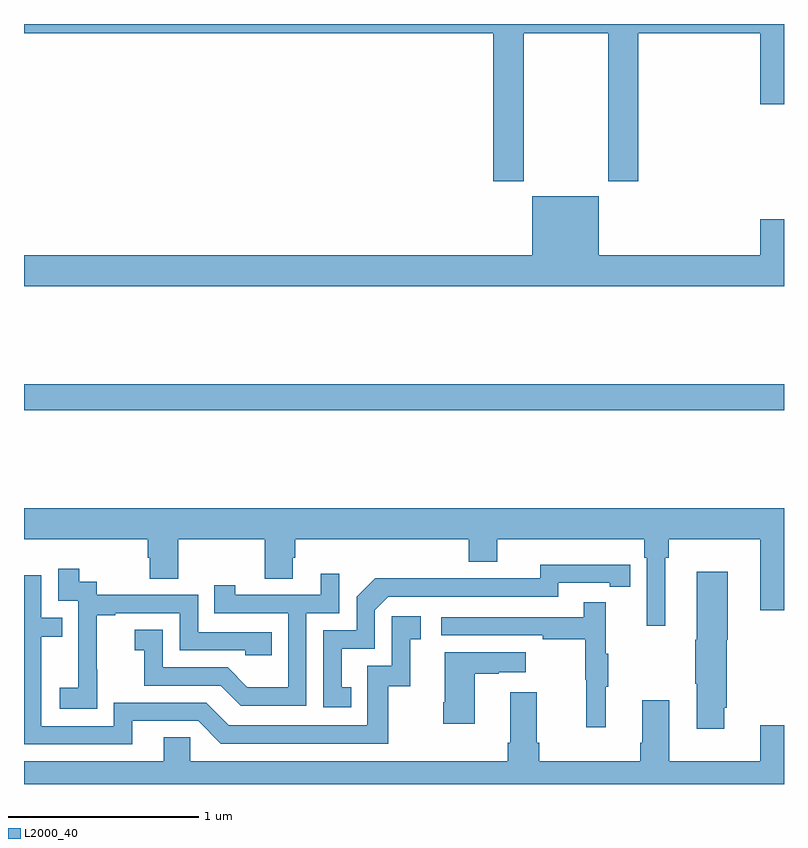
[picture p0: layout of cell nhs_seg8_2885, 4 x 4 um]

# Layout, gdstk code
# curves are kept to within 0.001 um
import gdstk
lib = gdstk.Library(unit=1e-6, precision=1e-09)
def R(c, l, rs):  # rectangles x0, y0, x1, y1
    for r in rs: c.add(gdstk.rectangle(r[:2], r[2:], *l))
def P(c, l, *ps):  # polygons
    for p in ps: c.add(gdstk.Polygon(p, *l))
L2000_40 = (2000, 40)

nhs_seg8_2885 = lib.new_cell('nhs_seg8_2885')
R(nhs_seg8_2885, L2000_40, [(293,1095.868,297,1096.004)])
P(nhs_seg8_2885, L2000_40, [(295.629,1097.852),(296.074,1097.852),(296.074,1097.073),(296.234,1097.073),(296.234,1097.852),(296.876,1097.852),(296.876,1097.478),(297,1097.478),(297,1097.9),(293,1097.9),(293,1097.852),(295.469,1097.852),(295.469,1097.073),(295.629,1097.073)],
  [(297,1096.873),(296.876,1096.873),(296.876,1096.684),(296.026,1096.684),(296.026,1096.993),(295.676,1096.993),(295.676,1096.684),(293,1096.684),(293,1096.52),(297,1096.52)],
  [(296.374,1095.092),(296.393,1095.092),(296.393,1095.188),(296.876,1095.188),(296.876,1094.814),(297,1094.814),(297,1095.352),(293,1095.352),(293,1095.188),(293.651,1095.188),(293.651,1095.09),(293.663,1095.09),(293.663,1094.98),(293.811,1094.98),(293.811,1095.188),(294.268,1095.188),(294.268,1094.98),(294.415,1094.98),(294.415,1095.09),(294.428,1095.09),(294.428,1095.188),(295.34,1095.188),(295.34,1095.071),(295.492,1095.071),(295.492,1095.188),(296.264,1095.188),(296.264,1095.092),(296.277,1095.092),(296.277,1094.733),(296.374,1094.733)],
  [(294.722,1094.409),(294.673,1094.409),(294.673,1094.613),(294.846,1094.613),(294.846,1094.814),(294.918,1094.886),(295.812,1094.886),(295.812,1094.958),(296.084,1094.958),(296.084,1094.938),(296.192,1094.938),(296.192,1095.054),(295.716,1095.055),(295.716,1094.982),(295.256,1094.982),(295.256,1094.984),(294.848,1094.984),(294.75,1094.886),(294.75,1094.709),(294.576,1094.709),(294.576,1094.304),(294.722,1094.304)],
  [(293.385,1094.503),(293.384,1094.503),(293.384,1094.787),(293.479,1094.787),(293.479,1094.799),(293.82,1094.799),(293.82,1094.604),(294.165,1094.604),(294.165,1094.577),(294.305,1094.577),(294.305,1094.7),(293.916,1094.7),(293.916,1094.895),(293.382,1094.895),(293.382,1094.964),(293.29,1094.964),(293.29,1095.034),(293.181,1095.034),(293.181,1094.865),(293.286,1094.865),(293.286,1094.636),(293.285,1094.636),(293.285,1094.407),(293.187,1094.407),(293.187,1094.297),(293.385,1094.297)],
  [(296.686,1094.302),(296.699,1094.302),(296.699,1094.658),(296.704,1094.658),(296.704,1095.016),(296.54,1095.016),(296.54,1094.658),(296.533,1094.658),(296.533,1094.428),(296.54,1094.428),(296.54,1094.19),(296.686,1094.19)],
  [(294.486,1094.799),(294.66,1094.799),(294.66,1095.007),(294.563,1095.007),(294.563,1094.895),(294.112,1094.895),(294.112,1094.947),(294.001,1094.947),(294.001,1094.799),(294.39,1094.799),(294.39,1094.41),(294.176,1094.41),(294.072,1094.514),(293.73,1094.514),(293.73,1094.713),(293.583,1094.713),(293.583,1094.603),(293.632,1094.603),(293.632,1094.418),(294.035,1094.418),(294.14,1094.313),(294.486,1094.313)],
  [(293.569,1094.232),(293.916,1094.232),(294.036,1094.112),(294.916,1094.112),(294.916,1094.415),(295.034,1094.415),(295.034,1094.661),(295.087,1094.661),(295.087,1094.782),(294.936,1094.782),(294.936,1094.523),(294.807,1094.523),(294.807,1094.208),(294.078,1094.208),(293.958,1094.328),(293.472,1094.328),(293.472,1094.205),(293.091,1094.205),(293.091,1094.674),(293.201,1094.674),(293.201,1094.775),(293.091,1094.775),(293.091,1095),(293,1095),(293,1094.109),(293.569,1094.109)],
  [(296.063,1094.411),(296.074,1094.411),(296.074,1094.585),(296.063,1094.585),(296.063,1094.857),(295.945,1094.857),(295.945,1094.778),(295.197,1094.778),(295.197,1094.682),(295.729,1094.682),(295.729,1094.662),(295.953,1094.662),(295.953,1094.448),(295.96,1094.448),(295.96,1094.199),(296.063,1094.199)],
  [(295.372,1094.479),(295.499,1094.479),(295.499,1094.489),(295.642,1094.489),(295.642,1094.593),(295.214,1094.593),(295.214,1094.329),(295.207,1094.329),(295.207,1094.217),(295.372,1094.217)],
  [(297,1094.209),(296.876,1094.209),(296.876,1094.02),(296.395,1094.02),(296.395,1094.341),(296.255,1094.341),(296.255,1094.116),(296.243,1094.116),(296.243,1094.02),(295.712,1094.02),(295.712,1094.116),(295.699,1094.116),(295.699,1094.383),(295.559,1094.383),(295.559,1094.116),(295.547,1094.116),(295.547,1094.02),(293.874,1094.02),(293.874,1094.147),(293.735,1094.147),(293.735,1094.02),(293,1094.02),(293,1093.9),(297,1093.9)])

lib.write_gds('nhs_seg8_2885.gds')
